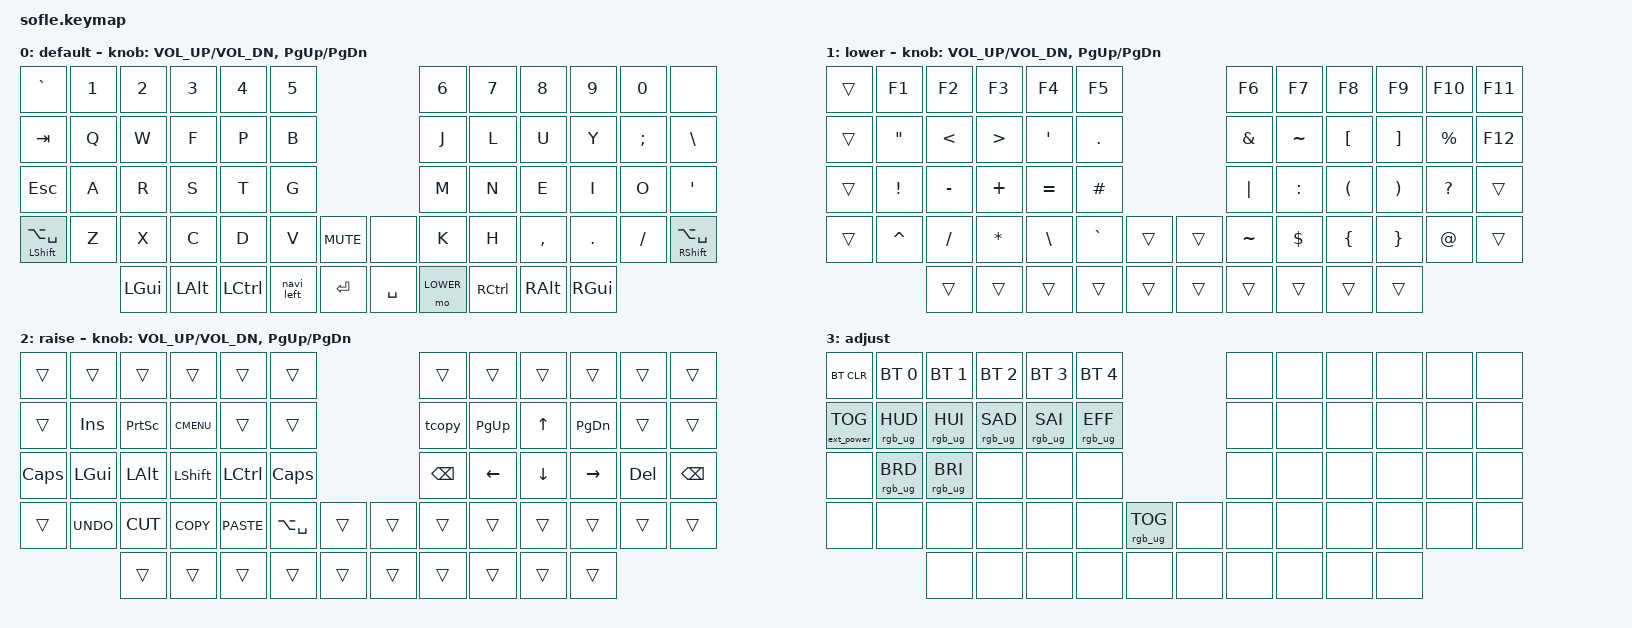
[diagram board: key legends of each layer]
/*
 * Copyright (c) 2020 The ZMK Contributors
 *
 * SPDX-License-Identifier: MIT
 */

#include <behaviors.dtsi>
#include <dt-bindings/zmk/keys.h>
#include <dt-bindings/zmk/bt.h>
#include <dt-bindings/zmk/rgb.h>
#include <dt-bindings/zmk/ext_power.h>

#define BASE 0
#define LOWER 1
#define RAISE 2
#define ADJUST 3

#define TMUX LA(SPACE)

/ {
    macros {
        tcopy: tmux_copy_mode {
            label = "TMUX_COPY_MODE";
            compatible = "zmk,behavior-macro";
            #binding-cells = <0>;
            bindings
                = <&macro_tap &kp TMUX &kp LBKT>
                ;
        };
    };

    behaviors {

      lm: layer_mod {
          compatible = "zmk,behavior-hold-tap";
          label = "LAYER_HOLD_TAP";
          #binding-cells = <2>;
          tapping-term-ms = <200>;
          quick-tap-ms = <200>;
          flavor = "tap-preferred";
          bindings = <&mo>, <&kp>;
      };

      navi_left: navi_left {
          compatible = "zmk,behavior-mod-morph";
          label = "NAVI_LEFT";
          #binding-cells = <0>;
          bindings = <&lm RAISE BSPC>, <&kp DEL>;
          mods = <(MOD_LSFT|MOD_RSFT)>;
      };

   };

   // Activate ADJUST layer by pressing raise and lower
    conditional_layers {
        compatible = "zmk,conditional-layers";
        adjust_layer {
            if-layers = <LOWER RAISE>;
            then-layer = <ADJUST>;
        };
    };

    keymap {
        compatible = "zmk,keymap";

        default_layer {
            display-name = "default";
// ------------------------------------------------------------------------------------------------------------
// |   `   |  1  |  2  |  3   |  4   |  5   |                   |  6   |  7    |  8    |  9   |   0   |       |
// |  TAB  |  Q  |  W  |  F   |  P   |  B   |                   |  J   |  L    |  U    |  Y   |   ;   |   \   |
// |  ESC  |  A  |  R  |  S   |  T   |  G   |                   |  M   |  N    |  E    |  I   |   O   |   "   |
// | SHTMUX|  Z  |  X  |  C   |  D   |  V   |  MUTE  |  |       |  K   |  H    |  ,    |  .   |   /   | SHTMUX|
//               | GUI | ALT  | CTRL | LOWER|  ENTER |  | SPACE | RAISE| CTRL  | ALT   | GUI  |
            bindings = <
&kp GRAVE      &kp N1 &kp N2   &kp N3   &kp N4    &kp N5                           &kp N6      &kp N7    &kp N8    &kp N9   &kp N0   &none
&kp TAB        &kp Q  &kp W    &kp F    &kp P     &kp B                            &kp J       &kp L     &kp U     &kp Y    &kp SEMI &kp BSLH
&kp ESC        &kp A  &kp R    &kp S    &kp T     &kp G                            &kp M       &kp N     &kp E     &kp I    &kp O    &kp SQT
&mt LSHFT TMUX &kp Z  &kp X    &kp C    &kp D     &kp V      &kp C_MUTE &none      &kp K       &kp H     &kp COMMA &kp DOT  &kp FSLH &mt RSHFT TMUX
                      &kp LGUI &kp LALT &kp LCTRL &navi_left &kp RET    &kp SPACE  &mo LOWER   &kp RCTRL  &kp RALT  &kp RGUI
            >;

            sensor-bindings = <&inc_dec_kp C_VOL_UP C_VOL_DN &inc_dec_kp PG_UP PG_DN>;
        };

        lower_layer {
            display-name = "lower";
// TODO: Some binds are waiting for shifted keycode support.
// ------------------------------------------------------------------------------------------------------------
// |       |  F1 |  F2 |  F3  |  F4  |  F5  |                   |  F6  |  F7   |  F8   |  F9  |  F10  |  F11  |
// |       |  "  |  <  |  >   |  '   |  .   |                   |  &   |  ~    |  [    |  ]   |   %   |  F12  |
// |       |  !  |  -  |  +   |  =   |  #   |                   |  |   |  :    |  (    |  )   |   ?   |       |
// |       |  ^  |  /  |  *   |  \   |  `   |        |  |       |  ~   |  $    |  {    |  }   |   @   |       |
//               |     |      |      |      |        |  |       |      |       |       |      |
            bindings = <
&trans    &kp F1    &kp F2    &kp F3      &kp F4    &kp F5                    &kp F6    &kp F7   &kp F8    &kp F9    &kp F10   &kp F11
&trans 	  &kp DQT   &kp LT    &kp GT      &kp SQT   &kp DOT                   &kp AMPS    &kp TILDE   &kp LBKT    &kp RBKT    &kp PRCNT    &kp F12
&trans    &kp EXCL  &kp MINUS &kp PLUS    &kp EQUAL &kp HASH                  &kp PIPE  &kp COLON &kp LPAR &kp RPAR  &kp QMARK &trans
&trans    &kp CARET &kp FSLH  &kp STAR    &kp BSLH  &kp GRAVE  &trans &trans  &kp TILDE &kp DLLR &kp LBRC  &kp RBRC  &kp AT    &trans
                    &trans    &trans      &trans    &trans     &trans &trans  &trans    &trans   &trans    &trans
            >;

            sensor-bindings = <&inc_dec_kp C_VOL_UP C_VOL_DN &inc_dec_kp PG_UP PG_DN>;
        };

        raise_layer {
            display-name = "raise";
// ------------------------------------------------------------------------------------------------------------
// |       |      |      |       |       |      |                |       |      |       |      |       |       |
// |       | INS  | PSCR | CMENU |       |      |                | TCOPY | PGUP |   ^   | PGDN |       |       |
// | CAPS  | GUI  | ALT  | SHIFT | CTRL  | CLCK |                | BKSPC |   <- |   v   |  ->  |  DEL  | BKSPC |
// |       | UNDO | CUT  | COPY  | PASTE | TMUX |      |  |      |       |      |       |      |       |       |
//                |      |       |       |      |      |  |      |       |      |       |      |
            bindings = <
&trans 	   &trans 	&trans 	     &trans 	  &trans       &trans                        &trans    &trans    &trans   &trans    &trans  &trans
&trans     &kp INS      &kp PSCRN    &kp K_CMENU  &trans       &trans                        &tcopy    &kp PG_UP &kp UP   &kp PG_DN &trans  &trans
&kp CAPS   &kp LGUI     &kp LALT     &kp LSHFT    &kp LCTRL    &kp CLCK                      &kp BSPC  &kp LEFT  &kp DOWN &kp RIGHT &kp DEL &kp BSPC
&trans     &kp K_UNDO   &kp K_CUT    &kp K_COPY   &kp K_PASTE  &kp TMUX      &trans  &trans  &trans    &trans    &trans   &trans    &trans  &trans
                        &trans       &trans       &trans       &trans        &trans  &trans  &trans    &trans    &trans   &trans
            >;

            sensor-bindings = <&inc_dec_kp C_VOL_UP C_VOL_DN &inc_dec_kp PG_UP PG_DN>;
        };

        adjust_layer {
// ----------------------------------------------------------------------------------------------------------------------------
// | BTCLR  |  BT1    |  BT2    |   BT3   |   BT4   |   BT5   |                  |      |      |       |      |       |       |
// | EXTPWR | RGB_HUD | RGB_HUI | RGB_SAD | RGB_SAI | RGB_EFF |                  |      |      |       |      |       |       |
// |        | RGB_BRD | RGB_BRI |         |         |         |                  |      |      |       |      |       |       |
// |        |         |         |         |         |         | RGB_TOG | |      |      |      |       |      |       |       |
//                    |         |         |         |         |         | |      |      |      |       |      |
            display-name = "adjust";
            bindings = <
&bt BT_CLR        &bt BT_SEL 0    &bt BT_SEL 1    &bt BT_SEL 2    &bt BT_SEL 3    &bt BT_SEL 4                            &none &none &none &none &none &none
&ext_power EP_TOG &rgb_ug RGB_HUD &rgb_ug RGB_HUI &rgb_ug RGB_SAD &rgb_ug RGB_SAI &rgb_ug RGB_EFF                         &none &none &none &none &none &none
&none             &rgb_ug RGB_BRD &rgb_ug RGB_BRI &none           &none           &none                                   &none &none &none &none &none &none
&none             &none           &none           &none           &none           &none            &rgb_ug RGB_TOG &none  &none &none &none &none &none &none
                                  &none           &none           &none           &none            &none           &none  &none &none &none &none
            >;
        };

    };
};
